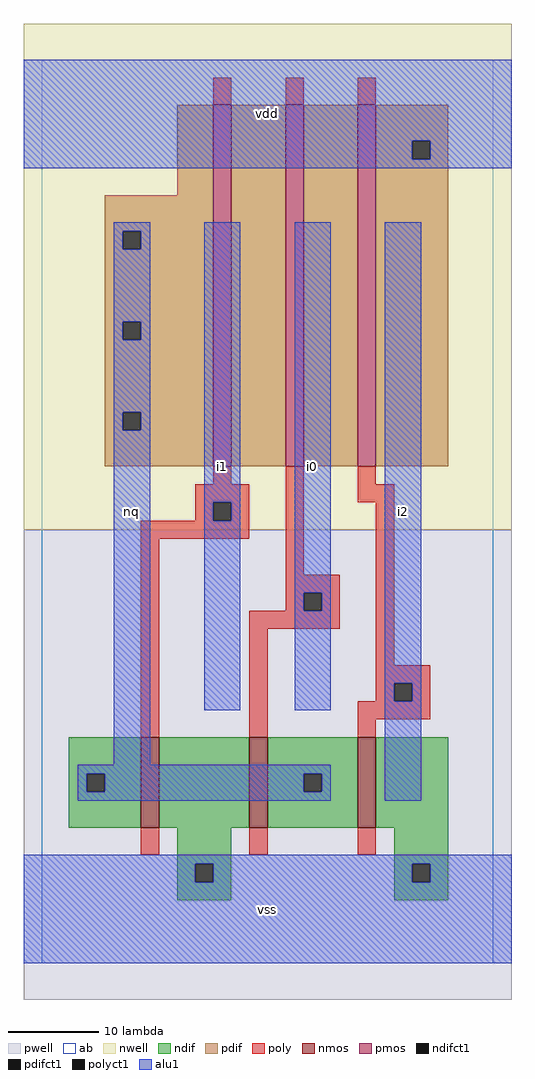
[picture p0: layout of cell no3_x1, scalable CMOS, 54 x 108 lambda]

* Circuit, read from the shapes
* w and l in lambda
.subckt no3_x1 i0 i1 i2 nq vdd vss
M1 vss i1 nq VSUBS nfet w=10 l=2
M2 nq i0 vss VSUBS nfet w=10 l=2
M3 vss i2 nq VSUBS nfet w=10 l=2
M4 n1 i1 nq n2 pfet w=40 l=2
M5 n3 i0 n1 n2 pfet w=40 l=2
M6 vdd i2 n3 n2 pfet w=40 l=2
.ends

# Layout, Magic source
magic
tech scmos
<< ab >>
rect 0 0 50 100
<< nwell >>
rect -2 48 52 104
<< pwell >>
rect -2 -4 52 48
<< poly >>
rect 19 95 21 98
rect 27 95 29 98
rect 35 95 37 98
rect 19 53 21 55
rect 17 51 23 53
rect 17 49 19 51
rect 21 49 23 51
rect 11 47 23 49
rect 11 25 13 47
rect 27 43 29 55
rect 35 53 37 55
rect 35 51 39 53
rect 27 41 33 43
rect 27 39 29 41
rect 31 39 33 41
rect 23 37 33 39
rect 23 25 25 37
rect 37 33 39 51
rect 37 31 43 33
rect 37 29 39 31
rect 41 29 43 31
rect 35 27 43 29
rect 35 25 37 27
rect 11 12 13 15
rect 23 12 25 15
rect 35 12 37 15
<< ndif >>
rect 3 21 11 25
rect 3 19 5 21
rect 7 19 11 21
rect 3 15 11 19
rect 13 15 23 25
rect 25 21 35 25
rect 25 19 29 21
rect 31 19 35 21
rect 25 15 35 19
rect 37 15 45 25
rect 15 11 21 15
rect 15 9 17 11
rect 19 9 21 11
rect 15 7 21 9
rect 39 11 45 15
rect 39 9 41 11
rect 43 9 45 11
rect 39 7 45 9
<< pdif >>
rect 15 85 19 95
rect 7 81 19 85
rect 7 79 9 81
rect 11 79 19 81
rect 7 71 19 79
rect 7 69 9 71
rect 11 69 19 71
rect 7 61 19 69
rect 7 59 9 61
rect 11 59 19 61
rect 7 55 19 59
rect 21 55 27 95
rect 29 55 35 95
rect 37 91 45 95
rect 37 89 41 91
rect 43 89 45 91
rect 37 55 45 89
<< alu1 >>
rect -2 91 52 100
rect -2 89 41 91
rect 43 89 52 91
rect -2 88 52 89
rect 8 81 12 82
rect 8 79 9 81
rect 11 79 12 81
rect 8 71 12 79
rect 8 69 9 71
rect 11 69 12 71
rect 8 61 12 69
rect 8 59 9 61
rect 11 59 12 61
rect 8 22 12 59
rect 18 51 22 82
rect 18 49 19 51
rect 21 49 22 51
rect 18 28 22 49
rect 28 41 32 82
rect 28 39 29 41
rect 31 39 32 41
rect 28 28 32 39
rect 38 31 42 82
rect 38 29 39 31
rect 41 29 42 31
rect 4 21 32 22
rect 4 19 5 21
rect 7 19 29 21
rect 31 19 32 21
rect 4 18 32 19
rect 38 18 42 29
rect -2 11 52 12
rect -2 9 17 11
rect 19 9 41 11
rect 43 9 52 11
rect -2 0 52 9
<< nmos >>
rect 11 15 13 25
rect 23 15 25 25
rect 35 15 37 25
<< pmos >>
rect 19 55 21 95
rect 27 55 29 95
rect 35 55 37 95
<< polyct1 >>
rect 19 49 21 51
rect 29 39 31 41
rect 39 29 41 31
<< ndifct1 >>
rect 5 19 7 21
rect 29 19 31 21
rect 17 9 19 11
rect 41 9 43 11
<< pdifct1 >>
rect 9 79 11 81
rect 9 69 11 71
rect 9 59 11 61
rect 41 89 43 91
<< labels >>
rlabel alu1 20 55 20 55 6 i1
rlabel alu1 10 50 10 50 6 nq
rlabel alu1 25 6 25 6 6 vss
rlabel alu1 30 55 30 55 6 i0
rlabel alu1 25 94 25 94 6 vdd
rlabel alu1 40 50 40 50 6 i2
<< end >>
